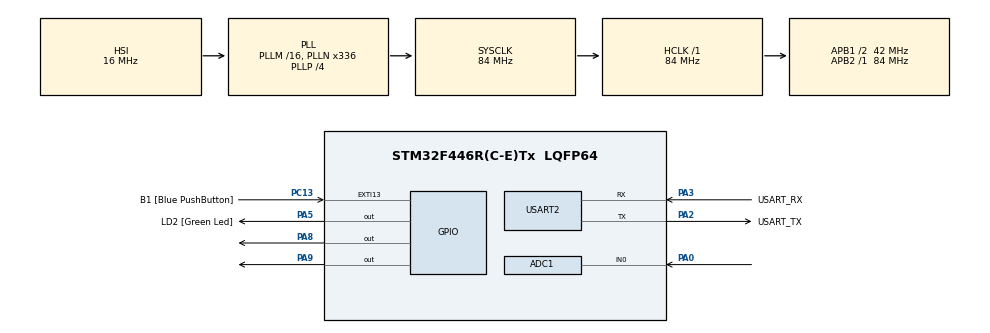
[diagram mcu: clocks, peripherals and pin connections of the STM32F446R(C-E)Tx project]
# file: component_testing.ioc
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ADC1.Channel-1\#ChannelRegularConversion=ADC_CHANNEL_0
ADC1.ContinuousConvMode=ENABLE
ADC1.NbrOfConversionFlag=1
ADC1.Rank-1\#ChannelRegularConversion=1
ADC1.SamplingTime-1\#ChannelRegularConversion=ADC_SAMPLETIME_3CYCLES
ADC1.master=1
Dma.ADC1.0.Direction=DMA_PERIPH_TO_MEMORY
Dma.ADC1.0.FIFOMode=DMA_FIFOMODE_DISABLE
Dma.ADC1.0.Instance=DMA2_Stream0
Dma.ADC1.0.MemDataAlignment=DMA_MDATAALIGN_HALFWORD
Dma.ADC1.0.MemInc=DMA_MINC_ENABLE
Dma.ADC1.0.Mode=DMA_CIRCULAR
Dma.ADC1.0.PeriphDataAlignment=DMA_PDATAALIGN_HALFWORD
Dma.ADC1.0.PeriphInc=DMA_PINC_DISABLE
Dma.ADC1.0.Priority=DMA_PRIORITY_LOW
Dma.Request0=ADC1
Mcu.Family=STM32F4
Mcu.Name=STM32F446R(C-E)Tx
Mcu.Package=LQFP64
NVIC.DMA2_Stream0_IRQn=true\:0\:0\:false\:false\:true\:false\:true\:true
NVIC.PriorityGroup=NVIC_PRIORITYGROUP_0
PA0-WKUP.Signal=ADCx_IN0
PA13.GPIO_Label=TMS
PA13.Mode=Serial_Wire
PA13.Signal=SYS_JTMS-SWDIO
PA14.GPIO_Label=TCK
PA14.Mode=Serial_Wire
PA14.Signal=SYS_JTCK-SWCLK
PA2.GPIO_Label=USART_TX
PA2.Mode=Asynchronous
PA2.Signal=USART2_TX
PA3.GPIO_Label=USART_RX
PA3.Mode=Asynchronous
PA3.Signal=USART2_RX
PA5.GPIO_Label=LD2 [Green Led]
PA5.Signal=GPIO_Output
PA8.Signal=GPIO_Output
PA9.Signal=GPIO_Output
PB3.GPIO_Label=SWO
PB3.Signal=SYS_JTDO-SWO
PC13.GPIO_Label=B1 [Blue PushButton]
PC13.GPIO_ModeDefaultEXTI=GPIO_MODE_IT_FALLING
PC13.Signal=GPXTI13
PC14-OSC32_IN.Mode=LSE-External-Oscillator
PC14-OSC32_IN.Signal=RCC_OSC32_IN
PC15-OSC32_OUT.Mode=LSE-External-Oscillator
PC15-OSC32_OUT.Signal=RCC_OSC32_OUT
PH0-OSC_IN.Mode=HSE-External-Oscillator
PH0-OSC_IN.Signal=RCC_OSC_IN
PH1-OSC_OUT.Mode=HSE-External-Oscillator
PH1-OSC_OUT.Signal=RCC_OSC_OUT
ProjectManager.HeapSize=0x200
ProjectManager.StackSize=0x400
ProjectManager.TargetToolchain=STM32CubeIDE
RCC.48MHZClocksFreq_Value=84000000
RCC.AHBFreq_Value=84000000
RCC.APB1CLKDivider=RCC_HCLK_DIV2
RCC.APB1Freq_Value=42000000
RCC.APB1TimFreq_Value=84000000
RCC.APB2Freq_Value=84000000
RCC.APB2TimFreq_Value=84000000
RCC.CortexFreq_Value=84000000
RCC.FLatency-AdvancedSettings=FLASH_LATENCY_2
RCC.HCLKFreq_Value=84000000
RCC.HSE_VALUE=8000000
RCC.HSI_VALUE=16000000
RCC.PLLN=336
RCC.PLLP=RCC_PLLP_DIV4
RCC.SYSCLKFreq_VALUE=84000000
RCC.SYSCLKSource=RCC_SYSCLKSOURCE_PLLCLK
RCC.USBFreq_Value=168000000
RCC.VCOOutputFreq_Value=336000000
SH.ADCx_IN0.0=ADC1_IN0,IN0
USART2.VirtualMode=VM_ASYNC
board=NUCLEO-F446RE

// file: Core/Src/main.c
/* USER CODE BEGIN Header */
/**
  ******************************************************************************
  * @file           : main.c
  * @brief          : Main program body
  ******************************************************************************
  * @attention
  *
  * Copyright (c) 2025 STMicroelectronics.
  * All rights reserved.
  *
  * This software is licensed under terms that can be found in the LICENSE file
  * in the root directory of this software component.
  * If no LICENSE file comes with this software, it is provided AS-IS.
  *
  ******************************************************************************
  */
/* USER CODE END Header */
#include "main.h"

/* USER CODE BEGIN Includes */
#include <string.h>
#include <stdio.h>
#include <stdbool.h>
#include <math.h>
#include  "pid.h"
/* USER CODE END Includes */

/* USER CODE BEGIN PD */
#define ADC_BUF_LEN 4096
/* USER CODE END PD */

ADC_HandleTypeDef hadc1;
DMA_HandleTypeDef hdma_adc1;

UART_HandleTypeDef huart2;

/* USER CODE BEGIN PV */
uint16_t adc_buf[ADC_BUF_LEN];

/* USER CODE END PV */

void SystemClock_Config(void);
static void MX_GPIO_Init(void);
static void MX_DMA_Init(void);
static void MX_USART2_UART_Init(void);
static void MX_ADC1_Init(void);

/* USER CODE BEGIN 0 */
// Simulate one step of balloon pressure dynamics

//void read_pressure() {
//	HAL_ADC_Start(&hadc1);
//	HAL_ADC_PollForConversion(&hadc1, HAL_MAX_DELAY);
//	raw = HAL_ADC_GetValue(&hadc1);
//
//	sprintf(msg, "%hu\r\n", raw);
//	HAL_UART_Transmit(&huart2, (uint8_t*)msg, strlen(msg), HAL_MAX_DELAY);
//	HAL_Delay(1);
//}

/* USER CODE END 0 */

int main(void)
{

  /* USER CODE BEGIN 1 */
  char msg[512];

  #define NUM_BLADDERS 3

  //simulation
  float t = 0;
  float dt = 0.01f;
  float pressures[NUM_BLADDERS] = {0};
  float ref_signals[NUM_BLADDERS] = {0};
  float controls[NUM_BLADDERS] = {0};
  float errors[NUM_BLADDERS] = {0};
  bool inflates[NUM_BLADDERS] = {false};
  bool deflates[NUM_BLADDERS] = {false};
  PID pids[NUM_BLADDERS];

  /* USER CODE END 1 */

  /* MCU Configuration--------------------------------------------------------*/

  /* Reset of all peripherals, Initializes the Flash interface and the Systick. */
  HAL_Init();

  /* USER CODE BEGIN Init */
  for (int i = 0; i < NUM_BLADDERS; i++){
	  pid_init(&pids[i], 0.1f + 0.1*i, 0.0f, 0.0f, 5.0f, 0.3f);
  }
//  PID pressure_pid;
//  pid_init(&pressure_pid, 0.2f, 0.0f, 0.0f, 5.0f, 0.3f);

  /* USER CODE END Init */

  /* Configure the system clock */
  SystemClock_Config();

  /* Initialize all configured peripherals */
  MX_GPIO_Init();
  MX_DMA_Init();
  MX_USART2_UART_Init();
  MX_ADC1_Init();
  /* USER CODE BEGIN 2 */
  sprintf(msg, "RESET\n");  // CSV format
  HAL_UART_Transmit(&huart2, (uint8_t*)msg, strlen(msg), HAL_MAX_DELAY);

  void simulate_step(bool inlet_open, bool exhaust_open, float *pressure, float dt) {
      const float rate_in = 10.0;   // psi/sec
      const float rate_out = 12.0;  // psi/sec

      if (inlet_open)
          *pressure += rate_in * dt;
      else if (exhaust_open)
          *pressure -= rate_out * dt;

      // Clamp pressure to realistic bounds
      if (*pressure < 0) *pressure = 0;
      if (*pressure > 30) *pressure = 30;
  }
  HAL_ADC_Start_DMA(&hadc1, (uint32_t*)adc_buf, ADC_BUF_LEN);

  /* USER CODE END 2 */

  /* Infinite loop */
  /* USER CODE BEGIN WHILE */
  while (1)
  {

//	  ref_signal = 0.5f * 15.0 * (sinf(2 * M_PI * 0.1 * t) + 1.0f);
	  float threshold = 0.2f;

	  int len = 0;

//	  len += sprintf(msg + len, "%.2f,", t);
	  len += sprintf(msg + len, "{\"t\":%.2f,\"bladders\":[", t);

	  for (int i = 0; i < NUM_BLADDERS; i++){
//		  ref_signals[i]=15.0;
		  ref_signals[i] = 0.5f * 15.0 * (sinf(2 * M_PI * 0.1 * t + i*2) + 1.0f);

		  inflates[i] = false;
		  deflates[i] = false;

		  errors[i] = ref_signals[i] - pressures[i];
		  controls[i] = pid_advance(&pids[i], errors[i], dt);

		  if (controls[i] > threshold) inflates[i] = true;
		  else if (controls[i] < -threshold) deflates[i] = true;

		  simulate_step(inflates[i], deflates[i], &pressures[i], dt);

//		  len += sprintf(msg + len, "%.2f,%.2f,%.2f,", pressures[i], controls[i], ref_signals[i]);

		  len += sprintf(msg + len,
						 "{\"p\":%.2f,\"u\":%.2f,\"r\":%.2f}%s",
						 pressures[i],
						 controls[i],
						 ref_signals[i],
						 (i == NUM_BLADDERS - 1) ? "" : ",");
	  }
	  len += sprintf(msg + len, "]}\r\n");

//	  sprintf(msg, "%.2f,%.2f,%.2f,%.2f\r\n", t, pressures, controls, ref_signals);  // CSV format
	  HAL_UART_Transmit(&huart2, (uint8_t*)msg, strlen(msg), HAL_MAX_DELAY);

	  HAL_Delay(10);  // 10ms = dt
	  t += dt;

//	  float error = ref_signal - pressure;
//	  float control = pid_advance(&pressure_pid, error, dt);

//	  float threshold = 0.2f;
//
//	  if (control > threshold) inflate = true;
//	  else if (control < -threshold) deflate = true;
//
//	  simulate_step(inflate, deflate, &pressure, dt);

//	  sprintf(msg, "%.2f,%.2f,%.2f,%.2f\r\n", t, pressure, control, ref_signal);  // CSV format
//	  HAL_UART_Transmit(&huart2, (uint8_t*)msg, strlen(msg), HAL_MAX_DELAY);
//
//	  HAL_Delay(10);  // 10ms = dt
//	  t += dt;

//	  if (inflate){
//		  HAL_GPIO_WritePin(GPIOA, GPIO_PIN_8, GPIO_PIN_SET);
//		  HAL_GPIO_WritePin(GPIOA, GPIO_PIN_9, GPIO_PIN_RESET);
//	  }
//	  else if (deflate){
//		  HAL_GPIO_WritePin(GPIOA, GPIO_PIN_8, GPIO_PIN_RESET);
//		  HAL_GPIO_WritePin(GPIOA, GPIO_PIN_9, GPIO_PIN_SET);
//	  }
//	  else {
//		  HAL_GPIO_WritePin(GPIOA, GPIO_PIN_8, GPIO_PIN_RESET);
//		  HAL_GPIO_WritePin(GPIOA, GPIO_PIN_9, GPIO_PIN_RESET);
//	  }

    /* USER CODE END WHILE */

  }
}

void SystemClock_Config(void)
{
  RCC_OscInitTypeDef RCC_OscInitStruct = {0};
  RCC_ClkInitTypeDef RCC_ClkInitStruct = {0};

  /** Configure the main internal regulator output voltage
  */
  __HAL_RCC_PWR_CLK_ENABLE();
  __HAL_PWR_VOLTAGESCALING_CONFIG(PWR_REGULATOR_VOLTAGE_SCALE3);

  /** Initializes the RCC Oscillators according to the specified parameters
  * in the RCC_OscInitTypeDef structure.
  */
  RCC_OscInitStruct.OscillatorType = RCC_OSCILLATORTYPE_HSI;
  RCC_OscInitStruct.HSIState = RCC_HSI_ON;
  RCC_OscInitStruct.HSICalibrationValue = RCC_HSICALIBRATION_DEFAULT;
  RCC_OscInitStruct.PLL.PLLState = RCC_PLL_ON;
  RCC_OscInitStruct.PLL.PLLSource = RCC_PLLSOURCE_HSI;
  RCC_OscInitStruct.PLL.PLLM = 16;
  RCC_OscInitStruct.PLL.PLLN = 336;
  RCC_OscInitStruct.PLL.PLLP = RCC_PLLP_DIV4;
  RCC_OscInitStruct.PLL.PLLQ = 2;
  RCC_OscInitStruct.PLL.PLLR = 2;
  if (HAL_RCC_OscConfig(&RCC_OscInitStruct) != HAL_OK)
  {
    Error_Handler();
  }

  /** Initializes the CPU, AHB and APB buses clocks
  */
  RCC_ClkInitStruct.ClockType = RCC_CLOCKTYPE_HCLK|RCC_CLOCKTYPE_SYSCLK
                              |RCC_CLOCKTYPE_PCLK1|RCC_CLOCKTYPE_PCLK2;
  RCC_ClkInitStruct.SYSCLKSource = RCC_SYSCLKSOURCE_PLLCLK;
  RCC_ClkInitStruct.AHBCLKDivider = RCC_SYSCLK_DIV1;
  RCC_ClkInitStruct.APB1CLKDivider = RCC_HCLK_DIV2;
  RCC_ClkInitStruct.APB2CLKDivider = RCC_HCLK_DIV1;

  if (HAL_RCC_ClockConfig(&RCC_ClkInitStruct, FLASH_LATENCY_2) != HAL_OK)
  {
    Error_Handler();
  }
}

static void MX_ADC1_Init(void)
{

  ADC_ChannelConfTypeDef sConfig = {0};

  /** Configure the global features of the ADC (Clock, Resolution, Data Alignment and number of conversion)
  */
  hadc1.Instance = ADC1;
  hadc1.Init.ClockPrescaler = ADC_CLOCK_SYNC_PCLK_DIV4;
  hadc1.Init.Resolution = ADC_RESOLUTION_12B;
  hadc1.Init.ScanConvMode = DISABLE;
  hadc1.Init.ContinuousConvMode = ENABLE;
  hadc1.Init.DiscontinuousConvMode = DISABLE;
  hadc1.Init.ExternalTrigConvEdge = ADC_EXTERNALTRIGCONVEDGE_NONE;
  hadc1.Init.ExternalTrigConv = ADC_SOFTWARE_START;
  hadc1.Init.DataAlign = ADC_DATAALIGN_RIGHT;
  hadc1.Init.NbrOfConversion = 1;
  hadc1.Init.DMAContinuousRequests = DISABLE;
  hadc1.Init.EOCSelection = ADC_EOC_SINGLE_CONV;
  if (HAL_ADC_Init(&hadc1) != HAL_OK)
  {
    Error_Handler();
  }

  /** Configure for the selected ADC regular channel its corresponding rank in the sequencer and its sample time.
  */
  sConfig.Channel = ADC_CHANNEL_0;
  sConfig.Rank = 1;
  sConfig.SamplingTime = ADC_SAMPLETIME_3CYCLES;
  if (HAL_ADC_ConfigChannel(&hadc1, &sConfig) != HAL_OK)
  {
    Error_Handler();
  }

}

static void MX_USART2_UART_Init(void)
{

  huart2.Instance = USART2;
  huart2.Init.BaudRate = 115200;
  huart2.Init.WordLength = UART_WORDLENGTH_8B;
  huart2.Init.StopBits = UART_STOPBITS_1;
  huart2.Init.Parity = UART_PARITY_NONE;
  huart2.Init.Mode = UART_MODE_TX_RX;
  huart2.Init.HwFlowCtl = UART_HWCONTROL_NONE;
  huart2.Init.OverSampling = UART_OVERSAMPLING_16;
  if (HAL_UART_Init(&huart2) != HAL_OK)
  {
    Error_Handler();
  }

}

static void MX_DMA_Init(void)
{

  /* DMA controller clock enable */
  __HAL_RCC_DMA2_CLK_ENABLE();

  /* DMA interrupt init */
  /* DMA2_Stream0_IRQn interrupt configuration */
  HAL_NVIC_SetPriority(DMA2_Stream0_IRQn, 0, 0);
  HAL_NVIC_EnableIRQ(DMA2_Stream0_IRQn);

}

static void MX_GPIO_Init(void)
{
  GPIO_InitTypeDef GPIO_InitStruct = {0};

  /* GPIO Ports Clock Enable */
  __HAL_RCC_GPIOC_CLK_ENABLE();
  __HAL_RCC_GPIOH_CLK_ENABLE();
  __HAL_RCC_GPIOA_CLK_ENABLE();
  __HAL_RCC_GPIOB_CLK_ENABLE();

  /*Configure GPIO pin Output Level */
  HAL_GPIO_WritePin(GPIOA, LD2_Pin|GPIO_PIN_8|GPIO_PIN_9, GPIO_PIN_RESET);

  /*Configure GPIO pin : B1_Pin */
  GPIO_InitStruct.Pin = B1_Pin;
  GPIO_InitStruct.Mode = GPIO_MODE_IT_FALLING;
  GPIO_InitStruct.Pull = GPIO_NOPULL;
  HAL_GPIO_Init(B1_GPIO_Port, &GPIO_InitStruct);

  /*Configure GPIO pins : LD2_Pin PA8 PA9 */
  GPIO_InitStruct.Pin = LD2_Pin|GPIO_PIN_8|GPIO_PIN_9;
  GPIO_InitStruct.Mode = GPIO_MODE_OUTPUT_PP;
  GPIO_InitStruct.Pull = GPIO_NOPULL;
  GPIO_InitStruct.Speed = GPIO_SPEED_FREQ_LOW;
  HAL_GPIO_Init(GPIOA, &GPIO_InitStruct);

}

/* USER CODE BEGIN 4 */
// callback when first half of buffer filled
void HAL_ADC_ConvHalfCpltCallback(ADC_HandleTypeDef* hadc){
	HAL_GPIO_WritePin(LD2_GPIO_Port, LD2_Pin, GPIO_PIN_SET);
}
// callback when buffer completely filled
void HAL_ADC_ConvCpltCallback(ADC_HandleTypeDef* hadc){
	HAL_GPIO_WritePin(LD2_GPIO_Port, LD2_Pin, GPIO_PIN_RESET);
}
/* USER CODE END 4 */

void Error_Handler(void)
{
  __disable_irq();
  while (1)
  {
  }
}
